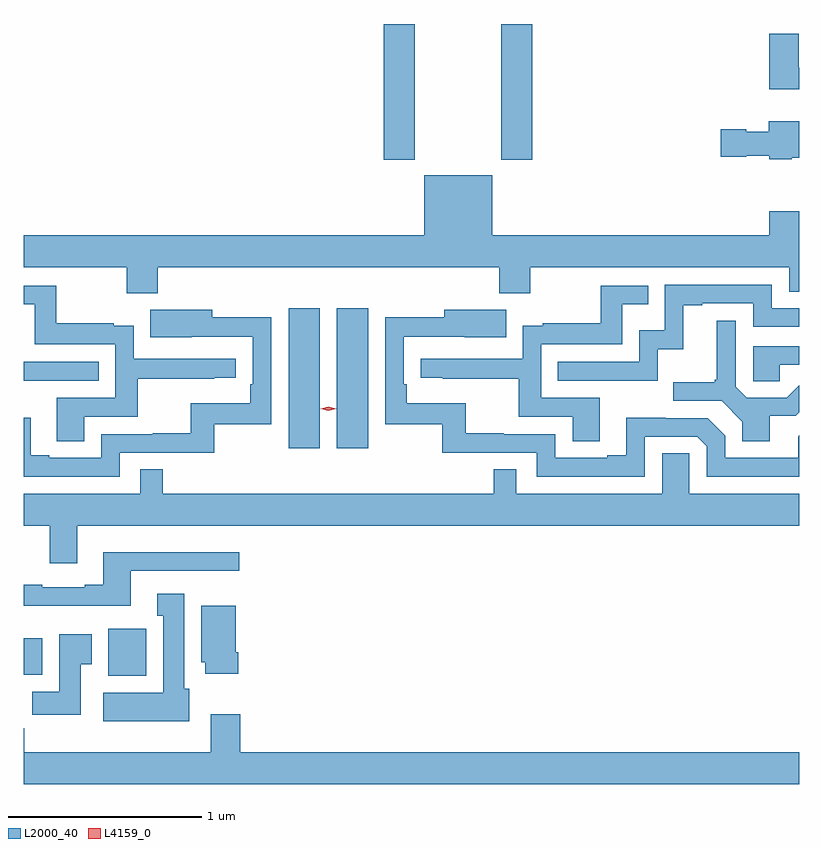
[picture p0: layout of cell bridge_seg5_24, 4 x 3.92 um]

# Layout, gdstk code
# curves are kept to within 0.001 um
import gdstk
lib = gdstk.Library(unit=1e-6, precision=1e-09)
def R(c, l, rs):  # rectangles x0, y0, x1, y1
    for r in rs: c.add(gdstk.rectangle(r[:2], r[2:], *l))
def P(c, l, *ps):  # polygons
    for p in ps: c.add(gdstk.Polygon(p, *l))
L2000_40 = (2000, 40)
L4159_0 = (4159, 0)

bridge_seg5_24 = lib.new_cell('bridge_seg5_24')
R(bridge_seg5_24, L2000_40, [(1105.235,875.966,1105.432,876.208), (1104.799,875.972,1104.895,876.16), (1106.165,877.14,1106.326,877.861), (1106.414,877.14,1106.575,877.861), (1104.799,877.488,1105.187,877.584), (1106.657,878.625,1106.817,879.326), (1107.262,878.625,1107.422,879.326)])
P(bridge_seg5_24, L2000_40, [(1108.799,879.1),(1108.795,879.1),(1108.795,879.277),(1108.643,879.277),(1108.643,878.99),(1108.799,878.99)],
  [(1108.758,878.636),(1108.799,878.636),(1108.799,878.824),(1108.64,878.824),(1108.64,878.77),(1108.524,878.77),(1108.524,878.783),(1108.392,878.783),(1108.392,878.641),(1108.524,878.641),(1108.524,878.648),(1108.644,878.648),(1108.644,878.63),(1108.758,878.63)],
  [(1105.49,878.072),(1107.251,878.072),(1107.251,877.937),(1107.411,877.937),(1107.411,878.072),(1108.746,878.072),(1108.746,877.945),(1108.799,877.945),(1108.799,878.36),(1108.643,878.36),(1108.643,878.236),(1107.214,878.236),(1107.214,878.545),(1106.864,878.545),(1106.864,878.236),(1104.799,878.236),(1104.799,878.072),(1105.33,878.072),(1105.33,877.937),(1105.49,877.937)],
  [(1108.068,877.649),(1108.201,877.649),(1108.201,877.875),(1108.297,877.875),(1108.297,877.887),(1108.56,877.887),(1108.56,877.764),(1108.799,877.764),(1108.799,877.86),(1108.656,877.86),(1108.656,877.983),(1108.104,877.983),(1108.104,877.747),(1107.972,877.747),(1107.972,877.584),(1107.553,877.584),(1107.553,877.488),(1108.068,877.488)],
  [(1105.111,877.302),(1105.388,877.302),(1105.388,877.498),(1105.781,877.498),(1105.781,877.503),(1105.894,877.503),(1105.894,877.599),(1105.368,877.599),(1105.368,877.771),(1105.265,877.771),(1105.265,877.783),(1104.967,877.783),(1104.967,877.977),(1104.799,877.977),(1104.799,877.88),(1104.856,877.88),(1104.856,877.674),(1105.272,877.674),(1105.272,877.398),(1104.971,877.398),(1104.971,877.174),(1105.111,877.174)],
  [(1107.769,877.398),(1107.468,877.398),(1107.468,877.674),(1107.885,877.674),(1107.885,877.88),(1108.019,877.88),(1108.019,877.977),(1107.774,877.977),(1107.774,877.783),(1107.475,877.783),(1107.475,877.771),(1107.372,877.771),(1107.372,877.599),(1106.847,877.599),(1106.847,877.503),(1106.959,877.503),(1106.959,877.498),(1107.352,877.498),(1107.352,877.302),(1107.629,877.302),(1107.629,877.174),(1107.769,877.174)],
  [(1105.296,877.116),(1105.783,877.116),(1105.783,877.263),(1106.076,877.263),(1106.076,877.814),(1105.771,877.814),(1105.771,877.852),(1105.453,877.852),(1105.453,877.712),(1105.667,877.712),(1105.667,877.713),(1105.98,877.713),(1105.98,877.468),(1105.967,877.468),(1105.967,877.372),(1105.662,877.372),(1105.662,877.217),(1105.465,877.217),(1105.465,877.212),(1105.2,877.212),(1105.2,877.089),(1104.931,877.089),(1104.931,877.102),(1104.835,877.102),(1104.835,877.295),(1104.799,877.295),(1104.799,876.993),(1105.296,876.993)],
  [(1108.002,877.197),(1108.272,877.197),(1108.32,877.149),(1108.32,876.993),(1108.799,876.993),(1108.799,877.205),(1108.793,877.199),(1108.793,877.089),(1108.416,877.089),(1108.416,877.203),(1108.326,877.293),(1108.11,877.293),(1108.11,877.295),(1107.905,877.295),(1107.905,877.102),(1107.809,877.102),(1107.809,877.089),(1107.54,877.089),(1107.54,877.212),(1107.275,877.212),(1107.275,877.217),(1107.079,877.217),(1107.079,877.372),(1106.774,877.372),(1106.774,877.468),(1106.76,877.468),(1106.76,877.713),(1107.287,877.712),(1107.287,877.852),(1106.969,877.852),(1106.969,877.814),(1106.664,877.814),(1106.664,877.263),(1106.958,877.263),(1106.958,877.116),(1107.444,877.116),(1107.444,876.993),(1108.002,876.993)],
  [(1108.645,877.306),(1108.78,877.306),(1108.799,877.325),(1108.799,877.464),(1108.733,877.398),(1108.527,877.398),(1108.47,877.455),(1108.47,877.795),(1108.373,877.795),(1108.373,877.492),(1108.362,877.492),(1108.362,877.48),(1108.149,877.48),(1108.149,877.383),(1108.398,877.383),(1108.505,877.276),(1108.505,877.174),(1108.645,877.174)],
  [(1108.697,877.569),(1108.799,877.569),(1108.799,877.665),(1108.56,877.665),(1108.56,877.485),(1108.697,877.485)],
  [(1105.075,876.74),(1108.799,876.74),(1108.799,876.904),(1108.23,876.904),(1108.23,877.112),(1108.091,877.112),(1108.091,876.904),(1107.339,876.904),(1107.339,877.031),(1107.223,877.031),(1107.223,876.904),(1105.517,876.904),(1105.517,877.031),(1105.401,877.031),(1105.401,876.904),(1104.799,876.904),(1104.799,876.74),(1104.935,876.74),(1104.935,876.546),(1105.075,876.546)],
  [(1105.351,876.507),(1105.912,876.507),(1105.912,876.604),(1105.211,876.604),(1105.211,876.436),(1105.115,876.436),(1105.115,876.423),(1104.895,876.423),(1104.895,876.436),(1104.799,876.436),(1104.799,876.326),(1105.351,876.326)],
  [(1105.654,875.898),(1105.627,875.898),(1105.627,876.388),(1105.487,876.388),(1105.487,876.275),(1105.52,876.275),(1105.52,875.878),(1105.211,875.878),(1105.211,875.732),(1105.654,875.732)],
  [(1105.907,876.088),(1105.894,876.088),(1105.894,876.328),(1105.715,876.328),(1105.715,876.036),(1105.736,876.036),(1105.736,875.976),(1105.907,875.976)],
  [(1105.093,876.025),(1105.15,876.025),(1105.15,876.181),(1104.983,876.181),(1104.983,875.884),(1104.844,875.884),(1104.844,875.766),(1105.093,875.766)],
  [(1108.799,875.572),(1105.916,875.572),(1105.916,875.767),(1105.763,875.767),(1105.763,875.572),(1104.803,875.572),(1104.803,875.696),(1104.799,875.696),(1104.799,875.408),(1108.799,875.408)])
P(bridge_seg5_24, L4159_0, [(1106.37,877.332),(1106.33,877.342),(1106.33,877.342),(1106.33,877.343),(1106.37,877.352),(1106.41,877.343),(1106.41,877.342),(1106.41,877.342)])

lib.write_gds('bridge_seg5_24.gds')
